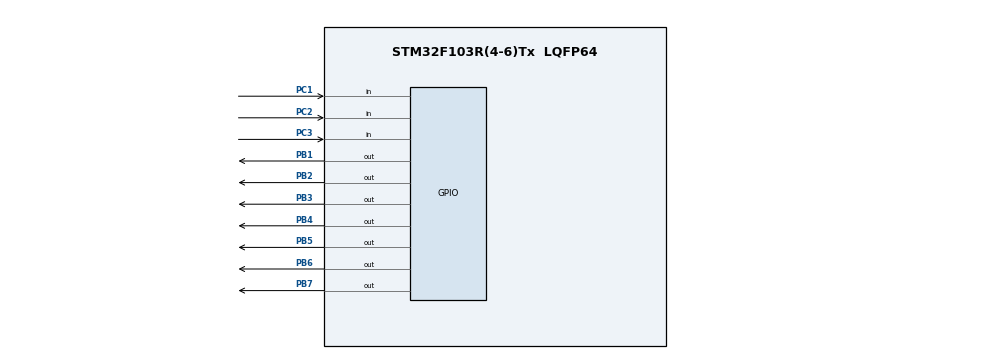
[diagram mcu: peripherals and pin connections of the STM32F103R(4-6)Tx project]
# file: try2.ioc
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Mcu.Family=STM32F1
Mcu.Name=STM32F103R(4-6)Tx
Mcu.Package=LQFP64
NVIC.FLASH_IRQn=true\:0\:0\:false\:true\:true\:2\:true\:true
NVIC.PVD_IRQn=true\:0\:0\:false\:true\:true\:1\:true\:true
NVIC.PriorityGroup=NVIC_PRIORITYGROUP_4
NVIC.RCC_IRQn=true\:0\:0\:false\:true\:true\:3\:true\:false
NVIC.RTC_IRQn=true\:0\:0\:false\:false\:true\:true\:true
PB1.Signal=GPIO_Output
PB2.GPIO_ModeDefaultOutputPP=GPIO_MODE_OUTPUT_OD
PB2.Signal=GPIO_Output
PB3.GPIO_ModeDefaultOutputPP=GPIO_MODE_OUTPUT_OD
PB3.Signal=GPIO_Output
PB4.GPIO_ModeDefaultOutputPP=GPIO_MODE_OUTPUT_OD
PB4.Signal=GPIO_Output
PB5.GPIO_ModeDefaultOutputPP=GPIO_MODE_OUTPUT_OD
PB5.Signal=GPIO_Output
PB6.GPIO_ModeDefaultOutputPP=GPIO_MODE_OUTPUT_OD
PB6.Signal=GPIO_Output
PB7.GPIO_ModeDefaultOutputPP=GPIO_MODE_OUTPUT_OD
PB7.Signal=GPIO_Output
PC1.GPIO_PuPd=GPIO_NOPULL
PC1.Signal=GPIO_Input
PC2.Signal=GPIO_Input
PC3.Signal=GPIO_Input
ProjectManager.HeapSize=0x200
ProjectManager.StackSize=0x400
ProjectManager.TargetToolchain=MDK-ARM V5.27
RCC.AHBCLKDivider=RCC_SYSCLK_DIV2
RCC.AHBFreq_Value=4000000
RCC.APB1Freq_Value=4000000
RCC.APB1TimFreq_Value=4000000
RCC.APB2Freq_Value=4000000
RCC.APB2TimFreq_Value=4000000
RCC.HCLKFreq_Value=4000000
RCC.SYSCLKSource=RCC_SYSCLKSOURCE_PLLCLK
RTC.Format=RTC_FORMAT_BIN
VP_RTC_No_RTC_Output.Mode=RTC_OUT_NO
VP_RTC_VS_RTC_Activate.Mode=RTC_Enabled
VP_SYS_VS_ND.Mode=No_Debug
board=custom

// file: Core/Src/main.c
/* USER CODE BEGIN Header */
/**
  ******************************************************************************
  * @file           : main.c
  * @brief          : Main program body
  ******************************************************************************
  * @attention
  *
  * <h2><center>&copy; Copyright (c) 2021 STMicroelectronics.
  * All rights reserved.</center></h2>
  *
  * This software component is licensed by ST under BSD 3-Clause license,
  * the "License"; You may not use this file except in compliance with the
  * License. You may obtain a copy of the License at:
  *                        opensource.org/licenses/BSD-3-Clause
  *
  ******************************************************************************
  */
/* USER CODE END Header */
#include "stm32f1xx_hal.h" // change this here and inside LiquidCrystal library accordingly
#include "LiquidCrystal.h"

#include "main.h"

RTC_HandleTypeDef hrtc;
typedef unsigned char byte;
int s,m,h,a,d,state,state1,state2,dg,cnt;

void SystemClock_Config(void);
static void MX_GPIO_Init(void);
static void MX_RTC_Init(void);
//static void MX_NVIC_Init(void);

/* USER CODE BEGIN 0 */
void lcdnumber0(int startposition)
{
    setCursor(startposition+0,0);
    print("0");

}
void lcdnumber1(int startposition)
{
    setCursor(startposition+0,0);
    write((0));

}
void lcdnumber2(int startposition)
{
    setCursor(startposition+0,0);
    write((1));

}
void lcdnumber3(int startposition)
{
    setCursor(startposition+0,0);
    write((2));

}
void lcdnumber4(int startposition)
{
    setCursor(startposition+0,0);
    print("8");

}
void lcdnumber5(int startposition)
{
    setCursor(startposition+0,0);
    write((3));  //5

}
void lcdnumber6(int startposition)
{
    setCursor(startposition+0,0);
    write((5));

}
void lcdnumber7(int startposition)
{
    setCursor(startposition+0,0);
    write((4));

}
void lcdnumber8(int startposition)
{
    setCursor(startposition+0,0);
    write((6));

}
void lcdnumber9(int startposition)
{
    setCursor(startposition+0,0);
    write((7));

}
  void numberprinter(int num , int pos)
{
  if(num == 0)
  {
    lcdnumber0(pos);
  }
  if(num == 1)
  {
    lcdnumber1(pos);
  }
  if(num == 2)
  {
    lcdnumber2(pos);
  }
  if(num == 3)
  {
    lcdnumber3(pos);
  }
  if(num == 4)
  {
    lcdnumber4(pos);
  }
  if(num == 5)
  {
    lcdnumber5(pos);
  }
  if(num == 6)
  {
    lcdnumber6(pos);
  }
  if(num == 7)
  {
    lcdnumber7(pos);
  }
  if(num == 8)
  {
    lcdnumber8(pos);
  }
  if(num == 9)
  {
    lcdnumber9(pos);
  }//serial.begin(9600);
}

    byte C0[8] = {0x10,0x08,0x04,0x02,0x01,0x02,0x1C,0x18}; //1
    byte C1[8] = {0x1E,0x01,0x01,0x06,0x18,0x04,0x02,0x01}; //2
    byte C2[8] = {0x0E,0x0E,0x01,0x11,0x11,0x11,0x0A,0x04}; //3
    byte C3[8] = {0x1F,0x12,0x14,0x17,0x11,0x11,0x1F,0x0E}; //5
    byte C5[8] = {0x11,0x12,0x14,0x13,0x11,0x11,0x0A,0x04}; //6
    byte C4[8] = {0x1F,0x11,0x11,0x1F,0x01,0x01,0x01,0x01}; //7
    byte C6[8] = {0x10,0x10,0x10,0x1F,0x1E,0x11,0x1F,0x1F}; //8
    byte C7[8] = {0x10,0x10,0x0C,0x02,0x01,0x1D,0x13,0x01}; //9

		// ISR Required by the library (for HAL_Delay)
void SysTick_Handler(void);
/* USER CODE END 0 */

int main(void)
{

  /* MCU Configuration--------------------------------------------------------*/
void SysTick_Handler(void);

  /* Reset of all peripherals, Initializes the Flash interface and the Systick. */
  HAL_Init();

  /* Configure the system clock */
  SystemClock_Config();

  /* Initialize all configured peripherals */
  MX_GPIO_Init();
  MX_RTC_Init();

  /* Initialize interrupts */
//  MX_NVIC_Init();
  /* USER CODE BEGIN 2 */
LiquidCrystal(GPIOB, GPIO_PIN_2, GPIO_PIN_1, GPIO_PIN_3, GPIO_PIN_4, GPIO_PIN_5, GPIO_PIN_6, GPIO_PIN_7);

  // create a new character
  createChar(0, C0);  //1
  // create a new character
  createChar(1, C1);  //2
  // create a new character
  createChar(2, C2); //3
  // create a new character
  createChar(3, C3);  //5
  // create a new character
  createChar(4, C4);  //7
  createChar(5, C5);  //6
  createChar(6, C6);  //8
  createChar(7, C7);  //9

	state=1;
  state1=1;
  state2=1;
	s=0;
  m=0;
  h=0;
  a=0;
  /* USER CODE END 2 */

  /* Infinite loop */
  while (1)
  {
//if(digitalRead(8)&&state==1)
		setCursor(0, 1);
    write(cnt);

		if(cnt==0)
		{
			 setCursor(1, 1);
       print(":DISPLAY TIME");
			 setCursor(14, 1);
       print(" ");
		}

	if(cnt==1)
		{
			 setCursor(1, 1);
       print(":CHANGE MINUTE");
		}

	if(cnt==2)
		{
			 setCursor(1, 1);
       print(":CHANGE HOUR");
			 setCursor(13, 1);
       print("  ");
		}
		if(cnt==3)
		{
			 setCursor(1, 1);
       print(":CHANGE AM-PM");
			 setCursor(14, 1);
       print(" ");
		}
	if(HAL_GPIO_ReadPin(GPIOC, GPIO_PIN_1)==GPIO_PIN_RESET && state==1)
{
    cnt++;
    state=0;
	  setCursor(0, 1);
    write(cnt);

    if(cnt>3){
      cnt=0;
			setCursor(0, 1);
      write(cnt);
      }
    }//else if(!digitalRead(8)&&state==0)
else if(HAL_GPIO_ReadPin(GPIOC, GPIO_PIN_1)!=GPIO_PIN_RESET && state==0)

		{
    state=1;
    }

//if(digitalRead(9)&&state1==1)
if(HAL_GPIO_ReadPin(GPIOC, GPIO_PIN_2)==GPIO_PIN_RESET && state==1)
{
    dg=1;
    state1=0;

    }
//else if(!digitalRead(9)&&state1==0)
else if(HAL_GPIO_ReadPin(GPIOC, GPIO_PIN_2)!=GPIO_PIN_RESET && state==0)

{
    state1=1;
    }

//if(digitalRead(10)&&state2==1)
if(HAL_GPIO_ReadPin(GPIOC, GPIO_PIN_3)==GPIO_PIN_RESET && state==1)

{
     dg=-1;
     state2=0;
    }

//	else if(!digitalRead(10)&state2==0)
	else if(HAL_GPIO_ReadPin(GPIOC, GPIO_PIN_3)!=GPIO_PIN_RESET && state==0)

	{
    state2=1;
    }

	switch(cnt)
		{
   case 1:
      m=m+dg;
      dg=0;
   if(m>59)
		 {
    m=59;
		 }
    if(m<0)
			{
    m=0;
			}
	break;

  case 2:
      h=h+dg;
      dg=0;

      if(h>11)
				{
       h=11;
				}
    if(h<0)
			{
    h=0;
			}
   break;

  case 3:
     if(dg==1){
    a=1;
    dg=0;}
     if(dg==-1){
    a=0;
    dg=0;}
    break;
      }
  if(s>59){
    s=0;
    m++;

  if(m>59){
    m=0;
   h++;

  if(h>11){
    h=0;            //12 Hour Format
    a=!a;
  }
  }
  }

  d=h%10;
  numberprinter(d, 4);
  d=h/10;
  numberprinter(d, 3);

  d=m%10;
  numberprinter(d, 7);
  d=m/10;
  numberprinter(d, 6);

  d=s%10;
  numberprinter(d, 10);
  d=s/10;
  numberprinter(d, 9);

  setCursor(14, 0);
  if(a){
       print("AM");

	}
	else{
       print("PM");

	}

	if(cnt==0){
           s++;
         setCursor(5, 0);
         print(" ");
        setCursor(8, 0);
        print(" ");

      HAL_Delay(1000);
      setCursor(5, 0);
      print(":");
      setCursor(8, 0);
      print(":");

       }
  }
}

void SystemClock_Config(void)
{
  RCC_OscInitTypeDef RCC_OscInitStruct = {0};
  RCC_ClkInitTypeDef RCC_ClkInitStruct = {0};
  RCC_PeriphCLKInitTypeDef PeriphClkInit = {0};

  /** Initializes the RCC Oscillators according to the specified parameters
  * in the RCC_OscInitTypeDef structure.
  */
  RCC_OscInitStruct.OscillatorType = RCC_OSCILLATORTYPE_HSI|RCC_OSCILLATORTYPE_LSI;
  RCC_OscInitStruct.HSIState = RCC_HSI_ON;
  RCC_OscInitStruct.HSICalibrationValue = RCC_HSICALIBRATION_DEFAULT;
  RCC_OscInitStruct.LSIState = RCC_LSI_ON;
  RCC_OscInitStruct.PLL.PLLState = RCC_PLL_ON;
  RCC_OscInitStruct.PLL.PLLSource = RCC_PLLSOURCE_HSI_DIV2;
  RCC_OscInitStruct.PLL.PLLMUL = RCC_PLL_MUL2;
  if (HAL_RCC_OscConfig(&RCC_OscInitStruct) != HAL_OK)
  {
    Error_Handler();
  }
  /** Initializes the CPU, AHB and APB buses clocks
  */
  RCC_ClkInitStruct.ClockType = RCC_CLOCKTYPE_HCLK|RCC_CLOCKTYPE_SYSCLK
                              |RCC_CLOCKTYPE_PCLK1|RCC_CLOCKTYPE_PCLK2;
  RCC_ClkInitStruct.SYSCLKSource = RCC_SYSCLKSOURCE_PLLCLK;
  RCC_ClkInitStruct.AHBCLKDivider = RCC_SYSCLK_DIV2;
  RCC_ClkInitStruct.APB1CLKDivider = RCC_HCLK_DIV1;
  RCC_ClkInitStruct.APB2CLKDivider = RCC_HCLK_DIV1;

  if (HAL_RCC_ClockConfig(&RCC_ClkInitStruct, FLASH_LATENCY_0) != HAL_OK)
  {
    Error_Handler();
  }
  PeriphClkInit.PeriphClockSelection = RCC_PERIPHCLK_RTC;
  PeriphClkInit.RTCClockSelection = RCC_RTCCLKSOURCE_LSI;
  if (HAL_RCCEx_PeriphCLKConfig(&PeriphClkInit) != HAL_OK)
  {
    Error_Handler();
  }
}

/**
  * @brief NVIC Configuration.
  * @retval None
  */
static void MX_NVIC_Init(void)
{
  /* PVD_IRQn interrupt configuration */
  HAL_NVIC_SetPriority(PVD_IRQn, 0, 0);
  HAL_NVIC_EnableIRQ(PVD_IRQn);
  /* FLASH_IRQn interrupt configuration */
  HAL_NVIC_SetPriority(FLASH_IRQn, 0, 0);
  HAL_NVIC_EnableIRQ(FLASH_IRQn);
  /* RCC_IRQn interrupt configuration */
  HAL_NVIC_SetPriority(RCC_IRQn, 0, 0);
  HAL_NVIC_EnableIRQ(RCC_IRQn);
}

static void MX_RTC_Init(void)
{

  RTC_TimeTypeDef sTime = {0};
  RTC_DateTypeDef DateToUpdate = {0};

  /** Initialize RTC Only
  */
  hrtc.Instance = RTC;
  hrtc.Init.AsynchPrediv = RTC_AUTO_1_SECOND;
  hrtc.Init.OutPut = RTC_OUTPUTSOURCE_NONE;
  if (HAL_RTC_Init(&hrtc) != HAL_OK)
  {
    Error_Handler();
  }

  /** Initialize RTC and set the Time and Date
  */
  sTime.Hours = 0;
  sTime.Minutes = 0;
  sTime.Seconds = 0;

  if (HAL_RTC_SetTime(&hrtc, &sTime, RTC_FORMAT_BIN) != HAL_OK)
  {
    Error_Handler();
  }
  DateToUpdate.WeekDay = RTC_WEEKDAY_MONDAY;
  DateToUpdate.Month = RTC_MONTH_JANUARY;
  DateToUpdate.Date = 1;
  DateToUpdate.Year = 0;

  if (HAL_RTC_SetDate(&hrtc, &DateToUpdate, RTC_FORMAT_BIN) != HAL_OK)
  {
    Error_Handler();
  }

}

static void MX_GPIO_Init(void)
{
  GPIO_InitTypeDef GPIO_InitStruct = {0};

  /* GPIO Ports Clock Enable */
  __HAL_RCC_GPIOC_CLK_ENABLE();
  __HAL_RCC_GPIOB_CLK_ENABLE();

  /*Configure GPIO pin Output Level */
  HAL_GPIO_WritePin(GPIOB, GPIO_PIN_2|GPIO_PIN_1|GPIO_PIN_3|GPIO_PIN_4
                          |GPIO_PIN_5|GPIO_PIN_6|GPIO_PIN_7, GPIO_PIN_RESET);

  /*Configure GPIO pins : PC1 PC2 PC3 */
  GPIO_InitStruct.Pin = GPIO_PIN_1|GPIO_PIN_2|GPIO_PIN_3;
  GPIO_InitStruct.Mode = GPIO_MODE_INPUT;
  GPIO_InitStruct.Pull = GPIO_NOPULL;
  HAL_GPIO_Init(GPIOC, &GPIO_InitStruct);

//  /*Configure GPIO pin : PB1 */
//  GPIO_InitStruct.Pin = GPIO_PIN_1;
//  GPIO_InitStruct.Mode = GPIO_MODE_OUTPUT_PP;
//  GPIO_InitStruct.Pull = GPIO_NOPULL;
//  GPIO_InitStruct.Speed = GPIO_SPEED_FREQ_LOW;
//  HAL_GPIO_Init(GPIOB, &GPIO_InitStruct);

  /*Configure GPIO pins : PB2 PB3 PB4 PB5
                           PB6 PB7 */
  GPIO_InitStruct.Pin = GPIO_PIN_2|GPIO_PIN_1|GPIO_PIN_3|GPIO_PIN_4|GPIO_PIN_5
                          |GPIO_PIN_6|GPIO_PIN_7;
  GPIO_InitStruct.Mode = GPIO_MODE_OUTPUT_OD;
  GPIO_InitStruct.Pull = GPIO_NOPULL;
  GPIO_InitStruct.Speed = GPIO_SPEED_FREQ_LOW;
  HAL_GPIO_Init(GPIOB, &GPIO_InitStruct);

}

void Error_Handler(void)
{
  __disable_irq();
  while (1)
  {
  }
}

/************************ (C) COPYRIGHT STMicroelectronics *****END OF FILE****/
